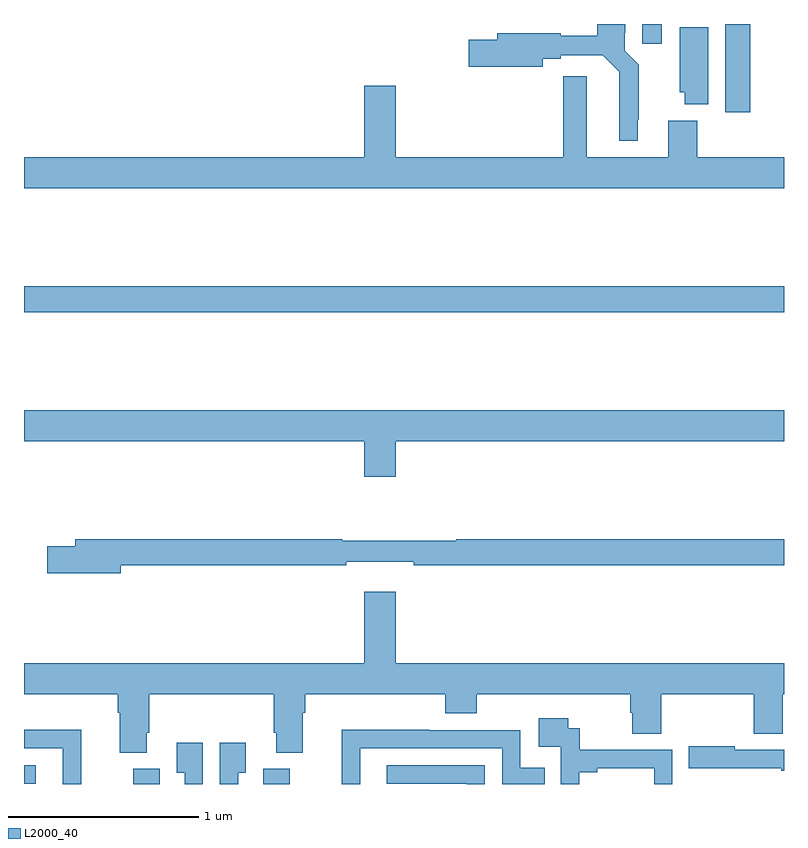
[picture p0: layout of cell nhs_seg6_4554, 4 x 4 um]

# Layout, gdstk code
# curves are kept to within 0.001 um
import gdstk
lib = gdstk.Library(unit=1e-6, precision=1e-09)
def R(c, l, rs):  # rectangles x0, y0, x1, y1
    for r in rs: c.add(gdstk.rectangle(r[:2], r[2:], *l))
def P(c, l, *ps):  # polygons
    for p in ps: c.add(gdstk.Polygon(p, *l))
L2000_40 = (2000, 40)

nhs_seg6_4554 = lib.new_cell('nhs_seg6_4554')
R(nhs_seg6_4554, L2000_40, [(379.574,977.5,379.714,977.58), (380.258,977.5,380.398,977.58), (379,977.502,379.063,977.598), (379,979.984,383,980.12), (382.691,981.036,382.823,981.5), (382.253,981.396,382.357,981.5)])
P(nhs_seg6_4554, L2000_40, [(382.231,980.995),(382.235,980.995),(382.235,981.286),(382.161,981.36),(382.161,981.454),(382.165,981.454),(382.165,981.5),(382.016,981.5),(382.016,981.437),(381.826,981.437),(381.826,981.452),(381.491,981.452),(381.491,981.416),(381.342,981.416),(381.342,981.274),(381.73,981.274),(381.73,981.316),(381.826,981.316),(381.826,981.336),(382.046,981.336),(382.134,981.248),(382.133,980.885),(382.231,980.885)],
  [(382.6,981.482),(382.451,981.482),(382.451,981.141),(382.478,981.141),(382.478,981.077),(382.6,981.077)],
  [(383,980.8),(382.544,980.8),(382.544,980.992),(382.391,980.992),(382.391,980.8),(381.961,980.8),(381.961,981.226),(381.839,981.226),(381.839,980.8),(380.956,980.8),(380.956,981.175),(380.792,981.175),(380.792,980.8),(379,980.8),(379,980.636),(383,980.636)],
  [(380.956,979.304),(383,979.304),(383,979.468),(379,979.468),(379,979.304),(380.792,979.304),(380.792,979.116),(380.956,979.116)],
  [(379.51,978.652),(380.696,978.652),(380.696,978.671),(381.052,978.671),(381.052,978.652),(383,978.652),(383,978.788),(381.275,978.788),(381.275,978.781),(380.675,978.781),(380.675,978.788),(379.271,978.788),(379.271,978.752),(379.122,978.752),(379.122,978.61),(379.51,978.61)],
  [(379.645,977.77),(379.658,977.77),(379.658,977.972),(380.315,977.972),(380.315,977.77),(380.327,977.77),(380.327,977.665),(380.467,977.665),(380.467,977.876),(380.48,977.876),(380.48,977.972),(381.218,977.972),(381.218,977.873),(381.383,977.873),(381.383,977.972),(382.19,977.972),(382.19,977.874),(382.202,977.874),(382.202,977.764),(382.355,977.764),(382.355,977.972),(382.841,977.972),(382.841,977.764),(382.993,977.764),(382.993,977.972),(383,977.972),(383,978.136),(380.956,978.136),(380.956,978.511),(380.792,978.511),(380.792,978.136),(379,978.136),(379,977.972),(379.493,977.972),(379.493,977.876),(379.505,977.876),(379.505,977.665),(379.645,977.665)],
  [(381.922,977.563),(382.018,977.563),(382.018,977.583),(382.317,977.583),(382.317,977.5),(382.413,977.5),(382.413,977.679),(381.926,977.679),(381.926,977.793),(381.864,977.793),(381.864,977.845),(381.708,977.845),(381.708,977.697),(381.825,977.697),(381.825,977.5),(381.922,977.5)],
  [(379.301,977.786),(379,977.786),(379,977.688),(379.203,977.688),(379.203,977.5),(379.301,977.5)],
  [(380.769,977.688),(381.516,977.688),(381.516,977.5),(381.74,977.5),(381.74,977.586),(381.612,977.586),(381.612,977.784),(381.134,977.784),(381.134,977.786),(380.672,977.786),(380.672,977.5),(380.769,977.5)],
  [(379.941,977.716),(379.805,977.716),(379.805,977.56),(379.845,977.56),(379.845,977.5),(379.941,977.5)],
  [(380.127,977.56),(380.167,977.56),(380.167,977.716),(380.031,977.716),(380.031,977.5),(380.127,977.5)],
  [(383,977.679),(382.741,977.679),(382.741,977.698),(382.498,977.698),(382.498,977.583),(382.985,977.583),(382.985,977.571),(383,977.571)],
  [(381.426,977.598),(380.91,977.598),(380.91,977.502),(381.33,977.502),(381.33,977.5),(381.426,977.5)])

lib.write_gds('nhs_seg6_4554.gds')
